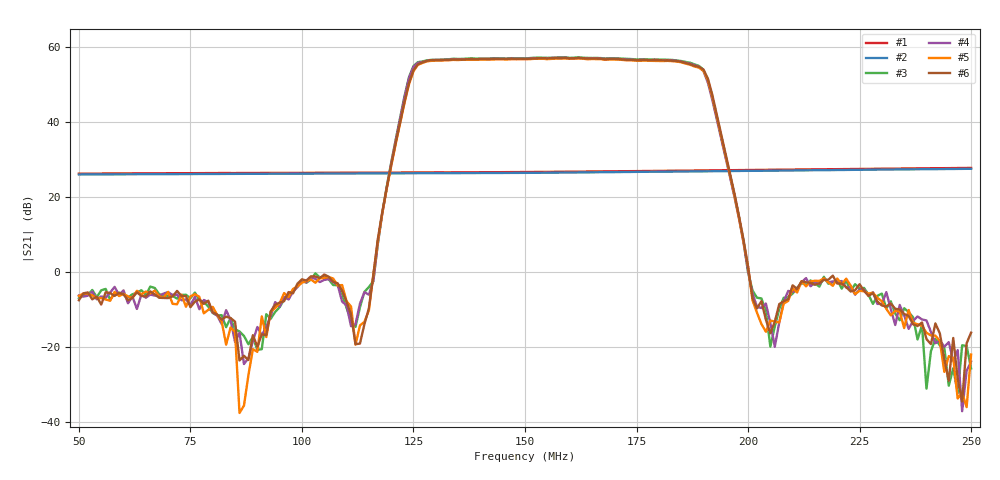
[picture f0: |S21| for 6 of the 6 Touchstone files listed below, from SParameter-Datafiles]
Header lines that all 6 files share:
! Network Analyzer HP8753D.06.12 Serial No. 3410A09394
# HZ  S  DB R 50
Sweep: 50 MHz to 250 MHz
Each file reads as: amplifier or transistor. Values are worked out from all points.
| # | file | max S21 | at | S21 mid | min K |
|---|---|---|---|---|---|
| 1 | bDATA00.S2P | 27.8 dB | 250 MHz | 26.6 dB at 150 MHz | 5.92 |
| 2 | bDATA02.S2P | 27.5 dB | 250 MHz | 26.4 dB at 150 MHz | 5.83 |
| 3 | DATA01.S2P | 57.3 dB | 162 MHz | 57.0 dB at 150 MHz | 0.96 |
| 4 | DATA02.S2P | 57.2 dB | 159 MHz | 56.9 dB at 150 MHz | 0.98 |
| 5 | DATA03.S2P | 57.0 dB | 159 MHz | 56.7 dB at 150 MHz | 0.96 |
| 6 | DATA04.S2P | 57.1 dB | 162 MHz | 56.8 dB at 150 MHz | 0.94 |
